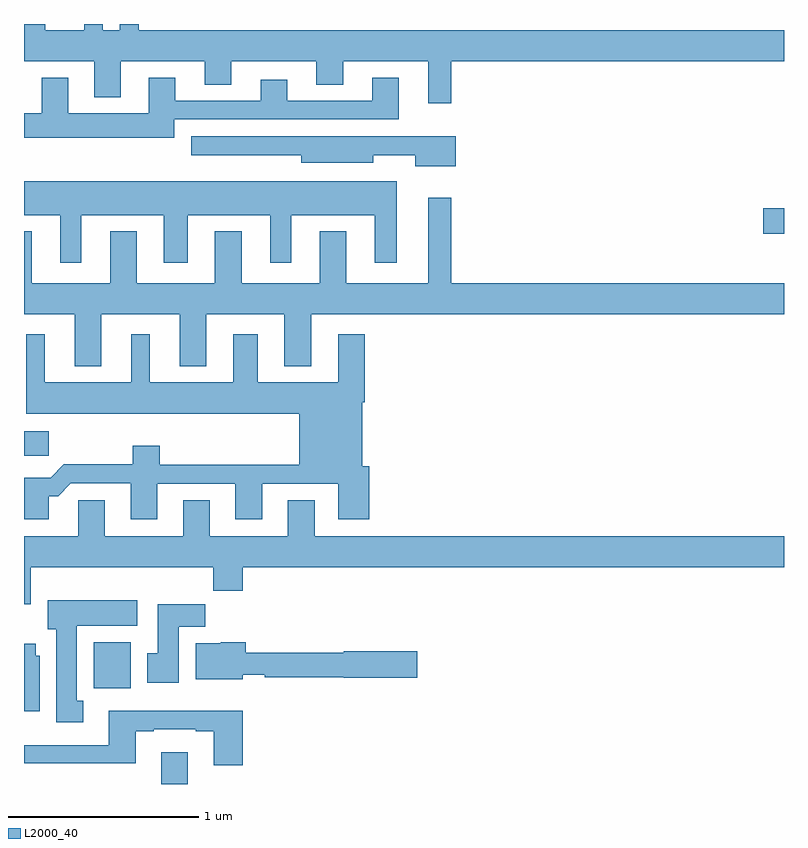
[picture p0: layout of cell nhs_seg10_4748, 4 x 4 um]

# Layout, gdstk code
import gdstk
lib = gdstk.Library(unit=1e-6, precision=1e-09)
def R(c, l, rs):  # rectangles x0, y0, x1, y1
    for r in rs: c.add(gdstk.rectangle(r[:2], r[2:], *l))
def P(c, l, *ps):  # polygons
    for p in ps: c.add(gdstk.Polygon(p, *l))
L2000_40 = (2000, 40)

nhs_seg10_4748 = lib.new_cell('nhs_seg10_4748')
R(nhs_seg10_4748, L2000_40, [(383.723,1308.5,383.863,1308.667), (383.366,1309.004,383.563,1309.246), (383,1310.227,383.131,1310.356), (386.892,1311.395,387,1311.53)])
P(nhs_seg10_4748, L2000_40, [(385.249,1312.304),(387,1312.304),(387,1312.468),(383.603,1312.468),(383.603,1312.5),(383.505,1312.5),(383.505,1312.468),(383.415,1312.468),(383.415,1312.5),(383.318,1312.5),(383.318,1312.468),(383.113,1312.468),(383.113,1312.5),(383,1312.5),(383,1312.304),(383.369,1312.304),(383.369,1312.115),(383.509,1312.115),(383.509,1312.304),(383.951,1312.304),(383.951,1312.18),(384.091,1312.18),(384.091,1312.304),(384.539,1312.304),(384.539,1312.18),(384.679,1312.18),(384.679,1312.304),(385.127,1312.304),(385.127,1312.083),(385.249,1312.083)],
  [(383.791,1311.999),(384.973,1311.999),(384.973,1312.216),(384.833,1312.216),(384.833,1312.095),(384.385,1312.095),(384.385,1312.207),(384.245,1312.207),(384.245,1312.095),(383.797,1312.095),(383.797,1312.216),(383.657,1312.216),(383.657,1312.03),(383.233,1312.03),(383.233,1312.216),(383.093,1312.216),(383.093,1312.03),(383,1312.03),(383,1311.902),(383.791,1311.902)],
  [(385.273,1311.91),(383.88,1311.91),(383.88,1311.809),(384.458,1311.809),(384.458,1311.77),(384.838,1311.77),(384.838,1311.809),(385.058,1311.809),(385.058,1311.752),(385.273,1311.752)],
  [(383.302,1311.494),(383.735,1311.494),(383.735,1311.243),(383.863,1311.243),(383.863,1311.494),(384.296,1311.494),(384.296,1311.243),(384.406,1311.243),(384.406,1311.494),(384.845,1311.494),(384.845,1311.243),(384.961,1311.243),(384.961,1311.673),(383,1311.673),(383,1311.494),(383.192,1311.494),(383.192,1311.243),(383.302,1311.243)],
  [(383.407,1310.972),(383.819,1310.972),(383.819,1310.699),(383.959,1310.699),(383.959,1310.972),(384.371,1310.972),(384.371,1310.699),(384.511,1310.699),(384.511,1310.972),(387,1310.972),(387,1311.136),(385.249,1311.136),(385.249,1311.586),(385.127,1311.586),(385.127,1311.136),(384.697,1311.136),(384.697,1311.409),(384.557,1311.409),(384.557,1311.136),(384.145,1311.136),(384.145,1311.409),(384.005,1311.409),(384.005,1311.136),(383.593,1311.136),(383.593,1311.409),(383.453,1311.409),(383.453,1311.136),(383.041,1311.136),(383.041,1311.409),(383,1311.409),(383,1310.972),(383.267,1310.972),(383.267,1310.699),(383.407,1310.699)],
  [(383.131,1310.015),(383.18,1310.015),(383.247,1310.082),(383.561,1310.082),(383.561,1309.893),(383.701,1309.893),(383.701,1310.079),(384.113,1310.079),(384.113,1309.893),(384.253,1309.893),(384.253,1310.079),(384.653,1310.079),(384.653,1309.893),(384.818,1309.893),(384.818,1310.172),(384.781,1310.172),(384.781,1310.51),(384.794,1310.51),(384.794,1310.866),(384.653,1310.866),(384.653,1310.614),(384.229,1310.614),(384.229,1310.866),(384.101,1310.866),(384.101,1310.614),(383.662,1310.614),(383.662,1310.866),(383.564,1310.866),(383.564,1310.614),(383.11,1310.614),(383.11,1310.866),(383.012,1310.866),(383.012,1310.45),(384.449,1310.45),(384.449,1310.18),(383.714,1310.18),(383.714,1310.281),(383.572,1310.281),(383.572,1310.183),(383.21,1310.183),(383.14,1310.113),(383,1310.113),(383,1309.893),(383.131,1309.893)],
  [(383.035,1309.64),(383.995,1309.64),(383.995,1309.516),(384.152,1309.516),(384.152,1309.64),(387,1309.64),(387,1309.804),(384.529,1309.804),(384.529,1309.994),(384.389,1309.994),(384.389,1309.804),(383.977,1309.804),(383.977,1309.994),(383.837,1309.994),(383.837,1309.804),(383.425,1309.804),(383.425,1309.994),(383.286,1309.994),(383.286,1309.804),(383,1309.804),(383,1309.446),(383.035,1309.446)],
  [(383.311,1308.938),(383.278,1308.938),(383.278,1309.334),(383.596,1309.334),(383.596,1309.468),(383.126,1309.468),(383.126,1309.314),(383.171,1309.314),(383.171,1308.825),(383.311,1308.825)],
  [(383.815,1309.328),(383.954,1309.328),(383.954,1309.447),(383.705,1309.447),(383.705,1309.188),(383.648,1309.188),(383.648,1309.032),(383.815,1309.032)],
  [(384.15,1309.074),(384.268,1309.074),(384.268,1309.063),(384.684,1309.063),(384.684,1309.058),(385.069,1309.058),(385.069,1309.2),(384.684,1309.2),(384.684,1309.192),(384.168,1309.192),(384.168,1309.246),(384.036,1309.246),(384.036,1309.24),(383.903,1309.24),(383.903,1309.052),(384.15,1309.052)],
  [(383.083,1309.176),(383.062,1309.176),(383.062,1309.237),(383,1309.237),(383,1308.884),(383.083,1308.884)],
  [(384.152,1308.886),(383.447,1308.886),(383.447,1308.705),(383,1308.705),(383,1308.608),(383.587,1308.608),(383.587,1308.777),(383.683,1308.777),(383.683,1308.789),(383.903,1308.789),(383.903,1308.777),(383.999,1308.777),(383.999,1308.6),(384.152,1308.6)])

lib.write_gds('nhs_seg10_4748.gds')
